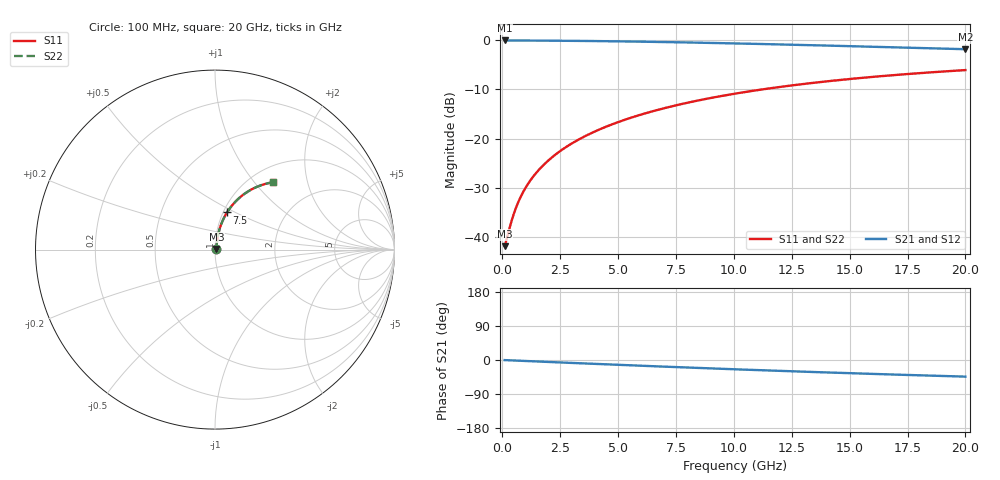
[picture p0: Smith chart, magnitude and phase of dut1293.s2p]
! Touchstone file exported from HFSS 2024.1.0
!  File:  C:/UserFiles/LocalFiles/RDL_TSV_Batchsim/temp_RDL_top_1293_1780242999.aedt
!  Generated:  11:58:45 PM May 31, 2026
!  Design:  RDL_top
!  Project:  temp_RDL_top_1293_1780242999
!  Setup:  Setup1
!  Solution:  Sweep
! Variables:
!  dtsv = 10.80580581um
!  hbump = 3um
!  htsv = 81.15um
!  ldown = 100um
!  lrdl = 535.4um
!  p = 40
!  p1 = 51.52um
!  rhole = 1um
!  t = 450um
!  tdown = 3.915915916um
!  trdl = 2.04um
!  wdown = 15.38538539um
!  wrdl = 12.69um
# GHz S MA R 50.000000
! Terminal data exported
! Port[1] = Box2_T1
! Port[2] = Box2_T2
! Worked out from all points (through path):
!   200 points, 100 MHz to 20 GHz, reference 50 ohm
!   highest |S21| = -0.06 dB at 100 MHz (marker M1); lowest = -1.8 dB at 20 GHz (marker M2)
!   group delay of S21, straight-line fit = 6.11 ps
!   lowest |S11| = -41.9 dB at 100 MHz (marker M3), VSWR 1.02, Z = 50.7 + j0.313 ohm
!   |S11| at or under -10 dB: start of sweep to 11.25 GHz
!   |S22| runs from -41.9 to -6.1 dB; largest |S21 - S12| = 2e-15
!   S11 on the Smith chart (normalised r, x): 100 MHz: 1.01, +0.01; 7.5 GHz: 1.04, +0.45; 20 GHz: 1.26, +1.26
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0.1  0.00805 22.5  0.9926 -0.3  0.9926 -0.3  0.00805 22.5
! Gamma 0 0 0 0
! Port Impedance 50 0 50 0
0.4  0.01452 57.5  0.9922 -1.1  0.9922 -1.1  0.01452 57.5
0.6  0.02002 65.7  0.9919 -1.6  0.9919 -1.6  0.02002 65.7
0.7  0.02285 68.2  0.9916 -1.9  0.9916 -1.9  0.02285 68.2
0.9  0.02856 71.6  0.9912 -2.4  0.9912 -2.4  0.02855 71.6
1.2  0.03715 74.5  0.9904 -3.2  0.9904 -3.2  0.03715 74.5
1.4  0.04289 75.6  0.9899 -3.7  0.9899 -3.7  0.04289 75.6
1.7  0.05151 76.8  0.989 -4.4  0.989 -4.4  0.05152 76.8
2.2  0.06592 77.8  0.9873 -5.7  0.9873 -5.7  0.06592 77.8
2.8  0.08325 78.1  0.9849 -7.2  0.9849 -7.2  0.08325 78.1
3.5  0.1035 77.9  0.9815 -9.0  0.9815 -9.0  0.1035 77.9
4.2  0.1237 77.2  0.9776 -10.7  0.9776 -10.7  0.1237 77.2
5  0.1468 76.2  0.9724 -12.7  0.9724 -12.7  0.1468 76.2
5.9  0.1725 74.9  0.9657 -14.9  0.9657 -14.9  0.1725 74.9
6.8  0.1979 73.3  0.9582 -17.1  0.9582 -17.1  0.1979 73.3
7.5  0.2174 72.1  0.9519 -18.7  0.9519 -18.7  0.2174 72.1
8.7  0.2502 69.9  0.9403 -21.5  0.9403 -21.5  0.2502 69.9
10.1  0.2871 67.2  0.9256 -24.6  0.9256 -24.6  0.2871 67.2
11.7  0.3273 64.1  0.9078 -28.1  0.9078 -28.1  0.3273 64.1
13.4  0.3674 60.8  0.8879 -31.6  0.8879 -31.6  0.3674 60.8
16.7  0.4371 54.8  0.8482 -38.0  0.8482 -38.0  0.4371 54.8
20  0.4961 49.1  0.8087 -43.9  0.8087 -43.9  0.4961 49.1
